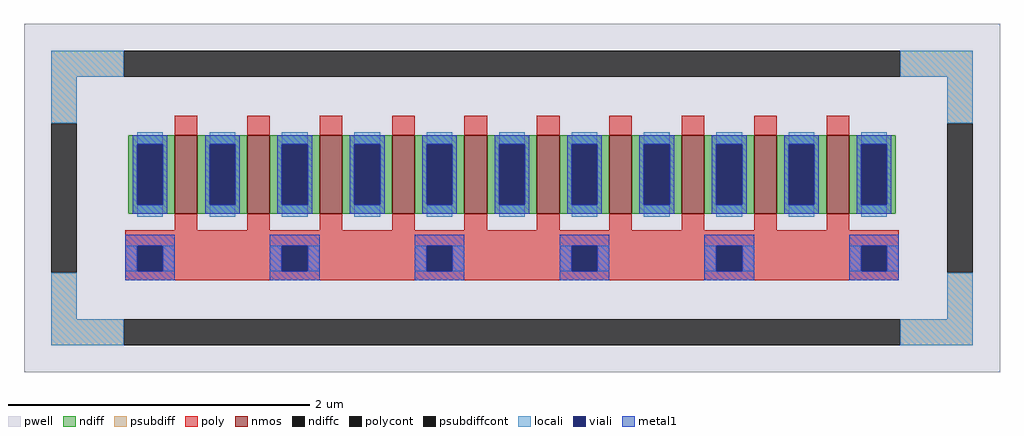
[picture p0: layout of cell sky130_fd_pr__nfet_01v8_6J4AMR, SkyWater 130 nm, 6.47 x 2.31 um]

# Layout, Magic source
magic
tech sky130A
<< pwell >>
rect -323 -131 324 100
<< nmos >>
rect -223 -26 -208 26
rect -175 -26 -160 26
rect -127 -26 -112 26
rect -79 -26 -64 26
rect -31 -26 -16 26
rect 17 -26 32 26
rect 65 -26 80 26
rect 113 -26 128 26
rect 161 -26 176 26
rect 209 -26 224 26
<< ndiff >>
rect -254 20 -223 26
rect -254 -20 -248 20
rect -231 -20 -223 20
rect -254 -26 -223 -20
rect -208 20 -175 26
rect -208 -20 -200 20
rect -183 -20 -175 20
rect -208 -26 -175 -20
rect -160 20 -127 26
rect -160 -20 -152 20
rect -135 -20 -127 20
rect -160 -26 -127 -20
rect -112 20 -79 26
rect -112 -20 -104 20
rect -87 -20 -79 20
rect -112 -26 -79 -20
rect -64 20 -31 26
rect -64 -20 -56 20
rect -39 -20 -31 20
rect -64 -26 -31 -20
rect -16 20 17 26
rect -16 -20 -8 20
rect 9 -20 17 20
rect -16 -26 17 -20
rect 32 20 65 26
rect 32 -20 40 20
rect 57 -20 65 20
rect 32 -26 65 -20
rect 80 20 113 26
rect 80 -20 88 20
rect 105 -20 113 20
rect 80 -26 113 -20
rect 128 20 161 26
rect 128 -20 136 20
rect 153 -20 161 20
rect 128 -26 161 -20
rect 176 20 209 26
rect 176 -20 184 20
rect 201 -20 209 20
rect 176 -26 209 -20
rect 224 20 255 26
rect 224 -20 232 20
rect 249 -20 255 20
rect 224 -26 255 -20
<< ndiffc >>
rect -248 -20 -231 20
rect -200 -20 -183 20
rect -152 -20 -135 20
rect -104 -20 -87 20
rect -56 -20 -39 20
rect -8 -20 9 20
rect 40 -20 57 20
rect 88 -20 105 20
rect 136 -20 153 20
rect 184 -20 201 20
rect 232 -20 249 20
<< psubdiff >>
rect -305 65 -257 82
rect 258 65 306 82
rect -305 34 -288 65
rect 289 34 306 65
rect -305 -96 -288 -65
rect 289 -96 306 -65
rect -305 -113 -257 -96
rect 258 -113 306 -96
<< psubdiffcont >>
rect -257 65 258 82
rect -305 -65 -288 34
rect 289 -65 306 34
rect -257 -113 258 -96
<< poly >>
rect -223 26 -208 39
rect -175 26 -160 39
rect -127 26 -112 39
rect -79 26 -64 39
rect -31 26 -16 39
rect 17 26 32 39
rect 65 26 80 39
rect 113 26 128 39
rect 161 26 176 39
rect 209 26 224 39
rect -223 -37 -208 -26
rect -175 -37 -160 -26
rect -127 -37 -112 -26
rect -79 -37 -64 -26
rect -31 -37 -16 -26
rect 17 -37 32 -26
rect 65 -37 80 -26
rect 113 -37 128 -26
rect 161 -37 176 -26
rect 209 -37 224 -26
rect -256 -47 257 -37
rect -256 -64 -248 -47
rect -231 -64 -152 -47
rect -135 -64 -56 -47
rect -39 -64 40 -47
rect 57 -64 136 -47
rect 153 -64 232 -47
rect 249 -64 257 -47
rect -256 -70 257 -64
<< polycont >>
rect -248 -64 -231 -47
rect -152 -64 -135 -47
rect -56 -64 -39 -47
rect 40 -64 57 -47
rect 136 -64 153 -47
rect 232 -64 249 -47
<< locali >>
rect -305 65 -257 82
rect 258 65 306 82
rect -305 34 -288 65
rect 289 34 306 65
rect -248 20 -231 28
rect -248 -28 -231 -20
rect -200 20 -183 28
rect -200 -28 -183 -20
rect -152 20 -135 28
rect -152 -28 -135 -20
rect -104 20 -87 28
rect -104 -28 -87 -20
rect -56 20 -39 28
rect -56 -28 -39 -20
rect -8 20 9 28
rect -8 -28 9 -20
rect 40 20 57 28
rect 40 -28 57 -20
rect 88 20 105 28
rect 88 -28 105 -20
rect 136 20 153 28
rect 136 -28 153 -20
rect 184 20 201 28
rect 184 -28 201 -20
rect 232 20 249 28
rect 232 -28 249 -20
rect -256 -64 -248 -47
rect -231 -64 -223 -47
rect -160 -64 -152 -47
rect -135 -64 -127 -47
rect -64 -64 -56 -47
rect -39 -64 -31 -47
rect 32 -64 40 -47
rect 57 -64 65 -47
rect 128 -64 136 -47
rect 153 -64 161 -47
rect 224 -64 232 -47
rect 249 -64 257 -47
rect -305 -96 -288 -65
rect 289 -96 306 -65
rect -305 -113 -257 -96
rect 258 -113 306 -96
<< viali >>
rect -248 -20 -231 20
rect -200 -20 -183 20
rect -152 -20 -135 20
rect -104 -20 -87 20
rect -56 -20 -39 20
rect -8 -20 9 20
rect 40 -20 57 20
rect 88 -20 105 20
rect 136 -20 153 20
rect 184 -20 201 20
rect 232 -20 249 20
rect -248 -64 -231 -47
rect -152 -64 -135 -47
rect -56 -64 -39 -47
rect 40 -64 57 -47
rect 136 -64 153 -47
rect 232 -64 249 -47
<< metal1 >>
rect -251 20 -228 26
rect -251 -20 -248 20
rect -231 -20 -228 20
rect -251 -26 -228 -20
rect -203 20 -180 26
rect -203 -20 -200 20
rect -183 -20 -180 20
rect -203 -26 -180 -20
rect -155 20 -132 26
rect -155 -20 -152 20
rect -135 -20 -132 20
rect -155 -26 -132 -20
rect -107 20 -84 26
rect -107 -20 -104 20
rect -87 -20 -84 20
rect -107 -26 -84 -20
rect -59 20 -36 26
rect -59 -20 -56 20
rect -39 -20 -36 20
rect -59 -26 -36 -20
rect -11 20 12 26
rect -11 -20 -8 20
rect 9 -20 12 20
rect -11 -26 12 -20
rect 37 20 60 26
rect 37 -20 40 20
rect 57 -20 60 20
rect 37 -26 60 -20
rect 85 20 108 26
rect 85 -20 88 20
rect 105 -20 108 20
rect 85 -26 108 -20
rect 133 20 156 26
rect 133 -20 136 20
rect 153 -20 156 20
rect 133 -26 156 -20
rect 181 20 204 26
rect 181 -20 184 20
rect 201 -20 204 20
rect 181 -26 204 -20
rect 229 20 252 26
rect 229 -20 232 20
rect 249 -20 252 20
rect 229 -26 252 -20
rect -256 -47 -223 -40
rect -256 -64 -248 -47
rect -231 -64 -223 -47
rect -256 -70 -223 -64
rect -160 -47 -127 -40
rect -160 -64 -152 -47
rect -135 -64 -127 -47
rect -160 -70 -127 -64
rect -64 -47 -31 -40
rect -64 -64 -56 -47
rect -39 -64 -31 -47
rect -64 -70 -31 -64
rect 32 -47 65 -40
rect 32 -64 40 -47
rect 57 -64 65 -47
rect 32 -70 65 -64
rect 128 -47 161 -40
rect 128 -64 136 -47
rect 153 -64 161 -47
rect 128 -70 161 -64
rect 224 -47 257 -40
rect 224 -64 232 -47
rect 249 -64 257 -47
rect 224 -70 257 -64
<< properties >>
string FIXED_BBOX -297 -105 297 105
string gencell sky130_fd_pr__nfet_01v8
string library sky130
string parameters w 0.53 l 0.150 m 1 nf 10 diffcov 100 polycov 100 guard 1 glc 1 grc 1 gtc 1 gbc 1 tbcov 100 rlcov 100 topc 1 botc 1 poverlap 0 doverlap 1 lmin 0.15 wmin 0.42 compatible {sky130_fd_pr__nfet_01v8 sky130_fd_pr__nfet_01v8_lvt  sky130_fd_bs_flash__special_sonosfet_star  sky130_fd_pr__nfet_g5v0d10v5 sky130_fd_pr__nfet_05v0_nvt  sky130_fd_pr__nfet_03v3_nvt} full_metal 1 viasrc 100 viadrn 100 viagate 100 viagb 0 viagr 0 viagl 0 viagt 0
<< end >>
